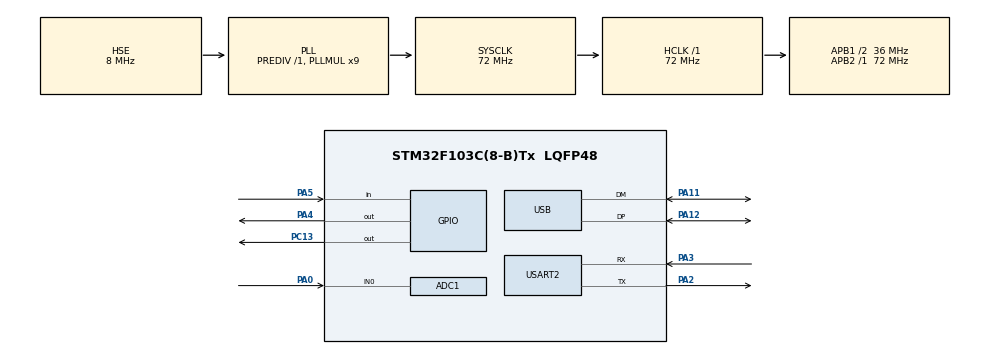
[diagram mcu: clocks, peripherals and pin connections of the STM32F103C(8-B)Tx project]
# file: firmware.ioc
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Mcu.Family=STM32F1
RCC.PLLSourceVirtual=RCC_PLLSOURCE_HSE
USB_DEVICE.CLASS_NAME_FS=CDC
ADC1.Rank-0\#ChannelRegularConversion=1
PD1-OSC_OUT.Mode=HSE-External-Oscillator
USB_DEVICE.VirtualModeFS=Cdc_FS
PC13-TAMPER-RTC.Signal=GPIO_Output
RCC.USBPrescaler=RCC_USBCLKSOURCE_PLL_DIV1_5
PA11.Mode=Device
PD0-OSC_IN.Signal=RCC_OSC_IN
RCC.APB1CLKDivider=RCC_HCLK_DIV2
VP_SYS_VS_ND.Mode=No_Debug
RCC.SYSCLKSource=RCC_SYSCLKSOURCE_PLLCLK
ProjectManager.StackSize=0x400
PA0-WKUP.Signal=ADCx_IN0
PD1-OSC_OUT.Signal=RCC_OSC_OUT
RCC.ADCPresc=RCC_ADCPCLK2_DIV6
PA3.Mode=Asynchronous
PA12.Signal=USB_DP
ProjectManager.TargetToolchain=STM32CubeIDE
RCC.HCLKFreq_Value=72000000
VP_USB_DEVICE_VS_USB_DEVICE_CDC_FS.Mode=CDC_FS
RCC.APB2TimFreq_Value=72000000
RCC.USBFreq_Value=48000000
RCC.AHBFreq_Value=72000000
PD0-OSC_IN.Mode=HSE-External-Oscillator
PA5.Signal=GPIO_Input
ADC1.Channel-0\#ChannelRegularConversion=ADC_CHANNEL_0
board=custom
RCC.PLLMUL=RCC_PLL_MUL9
RCC.APB2Freq_Value=72000000
VP_TIM2_VS_ClockSourceINT.Mode=Internal
NVIC.USB_LP_CAN1_RX0_IRQn=true\:0\:0\:false\:false\:true\:false\:true
NVIC.TIM2_IRQn=true\:0\:0\:false\:false\:true\:true\:true
SH.ADCx_IN0.0=ADC1_IN0,IN0
TIM2.Period=49
Mcu.Name=STM32F103C(8-B)Tx
ADC1.SamplingTime-0\#ChannelRegularConversion=ADC_SAMPLETIME_1CYCLE_5
PA2.Signal=USART2_TX
PA4.Signal=GPIO_Output
RCC.SYSCLKFreq_VALUE=72000000
Mcu.Package=LQFP48
TIM2.Prescaler=71
ADC1.master=1
PA12.Mode=Device
USART2.VirtualMode=VM_ASYNC
PA11.Signal=USB_DM
ProjectManager.HeapSize=0x200
NVIC.PriorityGroup=NVIC_PRIORITYGROUP_4
ADC1.NbrOfConversionFlag=1
RCC.APB1TimFreq_Value=72000000
PA2.Mode=Asynchronous
RCC.APB1Freq_Value=36000000
VP_CRC_VS_CRC.Mode=CRC_Activate
USB_DEVICE.VirtualMode=Cdc
PA3.Signal=USART2_RX

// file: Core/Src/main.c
/* USER CODE BEGIN Header */
/**
  ******************************************************************************
  * @file           : main.c
  * @brief          : Main program body
  ******************************************************************************
  * @attention
  *
  * <h2><center>&copy; Copyright (c) 2020 STMicroelectronics.
  * All rights reserved.</center></h2>
  *
  * This software component is licensed by ST under Ultimate Liberty license
  * SLA0044, the "License"; You may not use this file except in compliance with
  * the License. You may obtain a copy of the License at:
  *                             www.st.com/SLA0044
  *
  ******************************************************************************
  */
/* USER CODE END Header */
#include "main.h"
#include "usb_device.h"

/* USER CODE BEGIN Includes */
#include <stm32f1xx_hal.h>
#include "config.h"
/* USER CODE END Includes */

ADC_HandleTypeDef hadc1;

CRC_HandleTypeDef hcrc;

TIM_HandleTypeDef htim2;

UART_HandleTypeDef huart2;

void SystemClock_Config(void);
static void MX_GPIO_Init(void);
static void MX_USART2_UART_Init(void);
static void MX_TIM2_Init(void);
static void MX_ADC1_Init(void);
static void MX_CRC_Init(void);

/* USER CODE BEGIN 0 */

__attribute__((packed)) struct Packet {
	uint32_t id;
	int16_t data[BUFFER_SIZE];
	uint32_t crc;
};

struct Packet packets[2];

volatile int16_t* buffer = NULL;
volatile uint16_t i=0;
volatile struct Packet* packet_to_send;
volatile uint32_t current_packet = 0;
volatile uint32_t new_data_to_send = 0;

void switch_buffers(void);

void HAL_TIM_PeriodElapsedCallback(TIM_HandleTypeDef* timer) {
	if (timer->Instance == TIM2) {
		HAL_ADC_Start(&hadc1);
		uint16_t value = HAL_ADC_GetValue(&hadc1) & 0xfff;
		buffer[i++] = value;

		if (value > LED_ON_SOUND_LEVEL)
			HAL_GPIO_WritePin(GPIOC, GPIO_PIN_13, GPIO_PIN_RESET);
		else
			HAL_GPIO_WritePin(GPIOC, GPIO_PIN_13, GPIO_PIN_SET);

		if (i == BUFFER_SIZE) {
			i = 0;
			switch_buffers();
		}
	}
}

void switch_buffers(void) {
	packet_to_send = &packets[current_packet];
	current_packet = current_packet == 0 ? 1 : 0;
	buffer = &packets[current_packet].data[0];
	new_data_to_send = 1;
}

void init_buffers() {
	packets[0].id = 0x31434150; // PAC1
	packets[1].id = 0x32434150; // PAC2
	memset(packets[0].data, 0, sizeof(packets[0].data));
	memset(packets[1].data, 0, sizeof(packets[1].data));
	current_packet = 0;
	buffer = &packets[current_packet].data[0];
}

/* USER CODE END 0 */

int main(void)
{

  /* MCU Configuration--------------------------------------------------------*/

  /* Reset of all peripherals, Initializes the Flash interface and the Systick. */
  HAL_Init();

  /* Configure the system clock */
  SystemClock_Config();

  /* Initialize all configured peripherals */
  MX_GPIO_Init();
  MX_USB_DEVICE_Init();
  MX_USART2_UART_Init();
  MX_TIM2_Init();
  MX_ADC1_Init();
  MX_CRC_Init();
  /* USER CODE BEGIN 2 */
  HAL_GPIO_WritePin(GPIOA, GPIO_PIN_4, GPIO_PIN_RESET);
  init_buffers();
  HAL_GPIO_WritePin(GPIOC, GPIO_PIN_13, GPIO_PIN_SET);
  HAL_ADCEx_Calibration_Start(&hadc1);
  HAL_Delay(1000);
  HAL_TIM_Base_Start_IT(&htim2);
  /* USER CODE END 2 */

  /* Infinite loop */
  /* USER CODE BEGIN WHILE */
  uint32_t ctr = 0;
  while (1)
  {
	  if (new_data_to_send == 1) {
		  if (HAL_GPIO_ReadPin(GPIOA, GPIO_PIN_5) == GPIO_PIN_RESET) {
			  new_data_to_send = 0;
			  ctr = 0;
			  continue;
		  }
//		  packet_to_send->crc = HAL_CRC_Calculate(&hcrc, packet_to_send->data, sizeof(packet_to_send->data) / sizeof(uint32_t));
		  packet_to_send->crc = ctr++;
		  HAL_GPIO_TogglePin(GPIOA, GPIO_PIN_4);
		  CDC_Transmit_FS((uint8_t*)packet_to_send, sizeof(struct Packet));
		  new_data_to_send = 0;
	  }
    /* USER CODE END WHILE */

  }
}

void SystemClock_Config(void)
{
  RCC_OscInitTypeDef RCC_OscInitStruct = {0};
  RCC_ClkInitTypeDef RCC_ClkInitStruct = {0};
  RCC_PeriphCLKInitTypeDef PeriphClkInit = {0};

  /** Initializes the RCC Oscillators according to the specified parameters
  * in the RCC_OscInitTypeDef structure.
  */
  RCC_OscInitStruct.OscillatorType = RCC_OSCILLATORTYPE_HSE;
  RCC_OscInitStruct.HSEState = RCC_HSE_ON;
  RCC_OscInitStruct.HSEPredivValue = RCC_HSE_PREDIV_DIV1;
  RCC_OscInitStruct.HSIState = RCC_HSI_ON;
  RCC_OscInitStruct.PLL.PLLState = RCC_PLL_ON;
  RCC_OscInitStruct.PLL.PLLSource = RCC_PLLSOURCE_HSE;
  RCC_OscInitStruct.PLL.PLLMUL = RCC_PLL_MUL9;
  if (HAL_RCC_OscConfig(&RCC_OscInitStruct) != HAL_OK)
  {
    Error_Handler();
  }
  /** Initializes the CPU, AHB and APB buses clocks
  */
  RCC_ClkInitStruct.ClockType = RCC_CLOCKTYPE_HCLK|RCC_CLOCKTYPE_SYSCLK
                              |RCC_CLOCKTYPE_PCLK1|RCC_CLOCKTYPE_PCLK2;
  RCC_ClkInitStruct.SYSCLKSource = RCC_SYSCLKSOURCE_PLLCLK;
  RCC_ClkInitStruct.AHBCLKDivider = RCC_SYSCLK_DIV1;
  RCC_ClkInitStruct.APB1CLKDivider = RCC_HCLK_DIV2;
  RCC_ClkInitStruct.APB2CLKDivider = RCC_HCLK_DIV1;

  if (HAL_RCC_ClockConfig(&RCC_ClkInitStruct, FLASH_LATENCY_2) != HAL_OK)
  {
    Error_Handler();
  }
  PeriphClkInit.PeriphClockSelection = RCC_PERIPHCLK_ADC|RCC_PERIPHCLK_USB;
  PeriphClkInit.AdcClockSelection = RCC_ADCPCLK2_DIV6;
  PeriphClkInit.UsbClockSelection = RCC_USBCLKSOURCE_PLL_DIV1_5;
  if (HAL_RCCEx_PeriphCLKConfig(&PeriphClkInit) != HAL_OK)
  {
    Error_Handler();
  }
}

static void MX_ADC1_Init(void)
{

  ADC_ChannelConfTypeDef sConfig = {0};

  /** Common config
  */
  hadc1.Instance = ADC1;
  hadc1.Init.ScanConvMode = ADC_SCAN_DISABLE;
  hadc1.Init.ContinuousConvMode = DISABLE;
  hadc1.Init.DiscontinuousConvMode = DISABLE;
  hadc1.Init.ExternalTrigConv = ADC_SOFTWARE_START;
  hadc1.Init.DataAlign = ADC_DATAALIGN_RIGHT;
  hadc1.Init.NbrOfConversion = 1;
  if (HAL_ADC_Init(&hadc1) != HAL_OK)
  {
    Error_Handler();
  }
  /** Configure Regular Channel
  */
  sConfig.Channel = ADC_CHANNEL_0;
  sConfig.Rank = ADC_REGULAR_RANK_1;
  sConfig.SamplingTime = ADC_SAMPLETIME_1CYCLE_5;
  if (HAL_ADC_ConfigChannel(&hadc1, &sConfig) != HAL_OK)
  {
    Error_Handler();
  }

}

static void MX_CRC_Init(void)
{

  hcrc.Instance = CRC;
  if (HAL_CRC_Init(&hcrc) != HAL_OK)
  {
    Error_Handler();
  }

}

static void MX_TIM2_Init(void)
{

  TIM_ClockConfigTypeDef sClockSourceConfig = {0};
  TIM_MasterConfigTypeDef sMasterConfig = {0};

  htim2.Instance = TIM2;
  htim2.Init.Prescaler = 71;
  htim2.Init.CounterMode = TIM_COUNTERMODE_UP;
  htim2.Init.Period = 49;
  htim2.Init.ClockDivision = TIM_CLOCKDIVISION_DIV1;
  htim2.Init.AutoReloadPreload = TIM_AUTORELOAD_PRELOAD_DISABLE;
  if (HAL_TIM_Base_Init(&htim2) != HAL_OK)
  {
    Error_Handler();
  }
  sClockSourceConfig.ClockSource = TIM_CLOCKSOURCE_INTERNAL;
  if (HAL_TIM_ConfigClockSource(&htim2, &sClockSourceConfig) != HAL_OK)
  {
    Error_Handler();
  }
  sMasterConfig.MasterOutputTrigger = TIM_TRGO_RESET;
  sMasterConfig.MasterSlaveMode = TIM_MASTERSLAVEMODE_DISABLE;
  if (HAL_TIMEx_MasterConfigSynchronization(&htim2, &sMasterConfig) != HAL_OK)
  {
    Error_Handler();
  }

}

static void MX_USART2_UART_Init(void)
{

  huart2.Instance = USART2;
  huart2.Init.BaudRate = 115200;
  huart2.Init.WordLength = UART_WORDLENGTH_8B;
  huart2.Init.StopBits = UART_STOPBITS_1;
  huart2.Init.Parity = UART_PARITY_NONE;
  huart2.Init.Mode = UART_MODE_TX_RX;
  huart2.Init.HwFlowCtl = UART_HWCONTROL_NONE;
  huart2.Init.OverSampling = UART_OVERSAMPLING_16;
  if (HAL_UART_Init(&huart2) != HAL_OK)
  {
    Error_Handler();
  }

}

static void MX_GPIO_Init(void)
{
  GPIO_InitTypeDef GPIO_InitStruct = {0};

  /* GPIO Ports Clock Enable */
  __HAL_RCC_GPIOC_CLK_ENABLE();
  __HAL_RCC_GPIOD_CLK_ENABLE();
  __HAL_RCC_GPIOA_CLK_ENABLE();

  /*Configure GPIO pin Output Level */
  HAL_GPIO_WritePin(GPIOC, GPIO_PIN_13, GPIO_PIN_RESET);

  /*Configure GPIO pin Output Level */
  HAL_GPIO_WritePin(GPIOA, GPIO_PIN_4, GPIO_PIN_RESET);

  /*Configure GPIO pin : PC13 */
  GPIO_InitStruct.Pin = GPIO_PIN_13;
  GPIO_InitStruct.Mode = GPIO_MODE_OUTPUT_PP;
  GPIO_InitStruct.Pull = GPIO_NOPULL;
  GPIO_InitStruct.Speed = GPIO_SPEED_FREQ_LOW;
  HAL_GPIO_Init(GPIOC, &GPIO_InitStruct);

  /*Configure GPIO pin : PA4 */
  GPIO_InitStruct.Pin = GPIO_PIN_4;
  GPIO_InitStruct.Mode = GPIO_MODE_OUTPUT_PP;
  GPIO_InitStruct.Pull = GPIO_NOPULL;
  GPIO_InitStruct.Speed = GPIO_SPEED_FREQ_LOW;
  HAL_GPIO_Init(GPIOA, &GPIO_InitStruct);

  /*Configure GPIO pin : PA5 */
  GPIO_InitStruct.Pin = GPIO_PIN_5;
  GPIO_InitStruct.Mode = GPIO_MODE_INPUT;
  GPIO_InitStruct.Pull = GPIO_NOPULL;
  HAL_GPIO_Init(GPIOA, &GPIO_InitStruct);

}

void Error_Handler(void)
{
}

/************************ (C) COPYRIGHT STMicroelectronics *****END OF FILE****/
